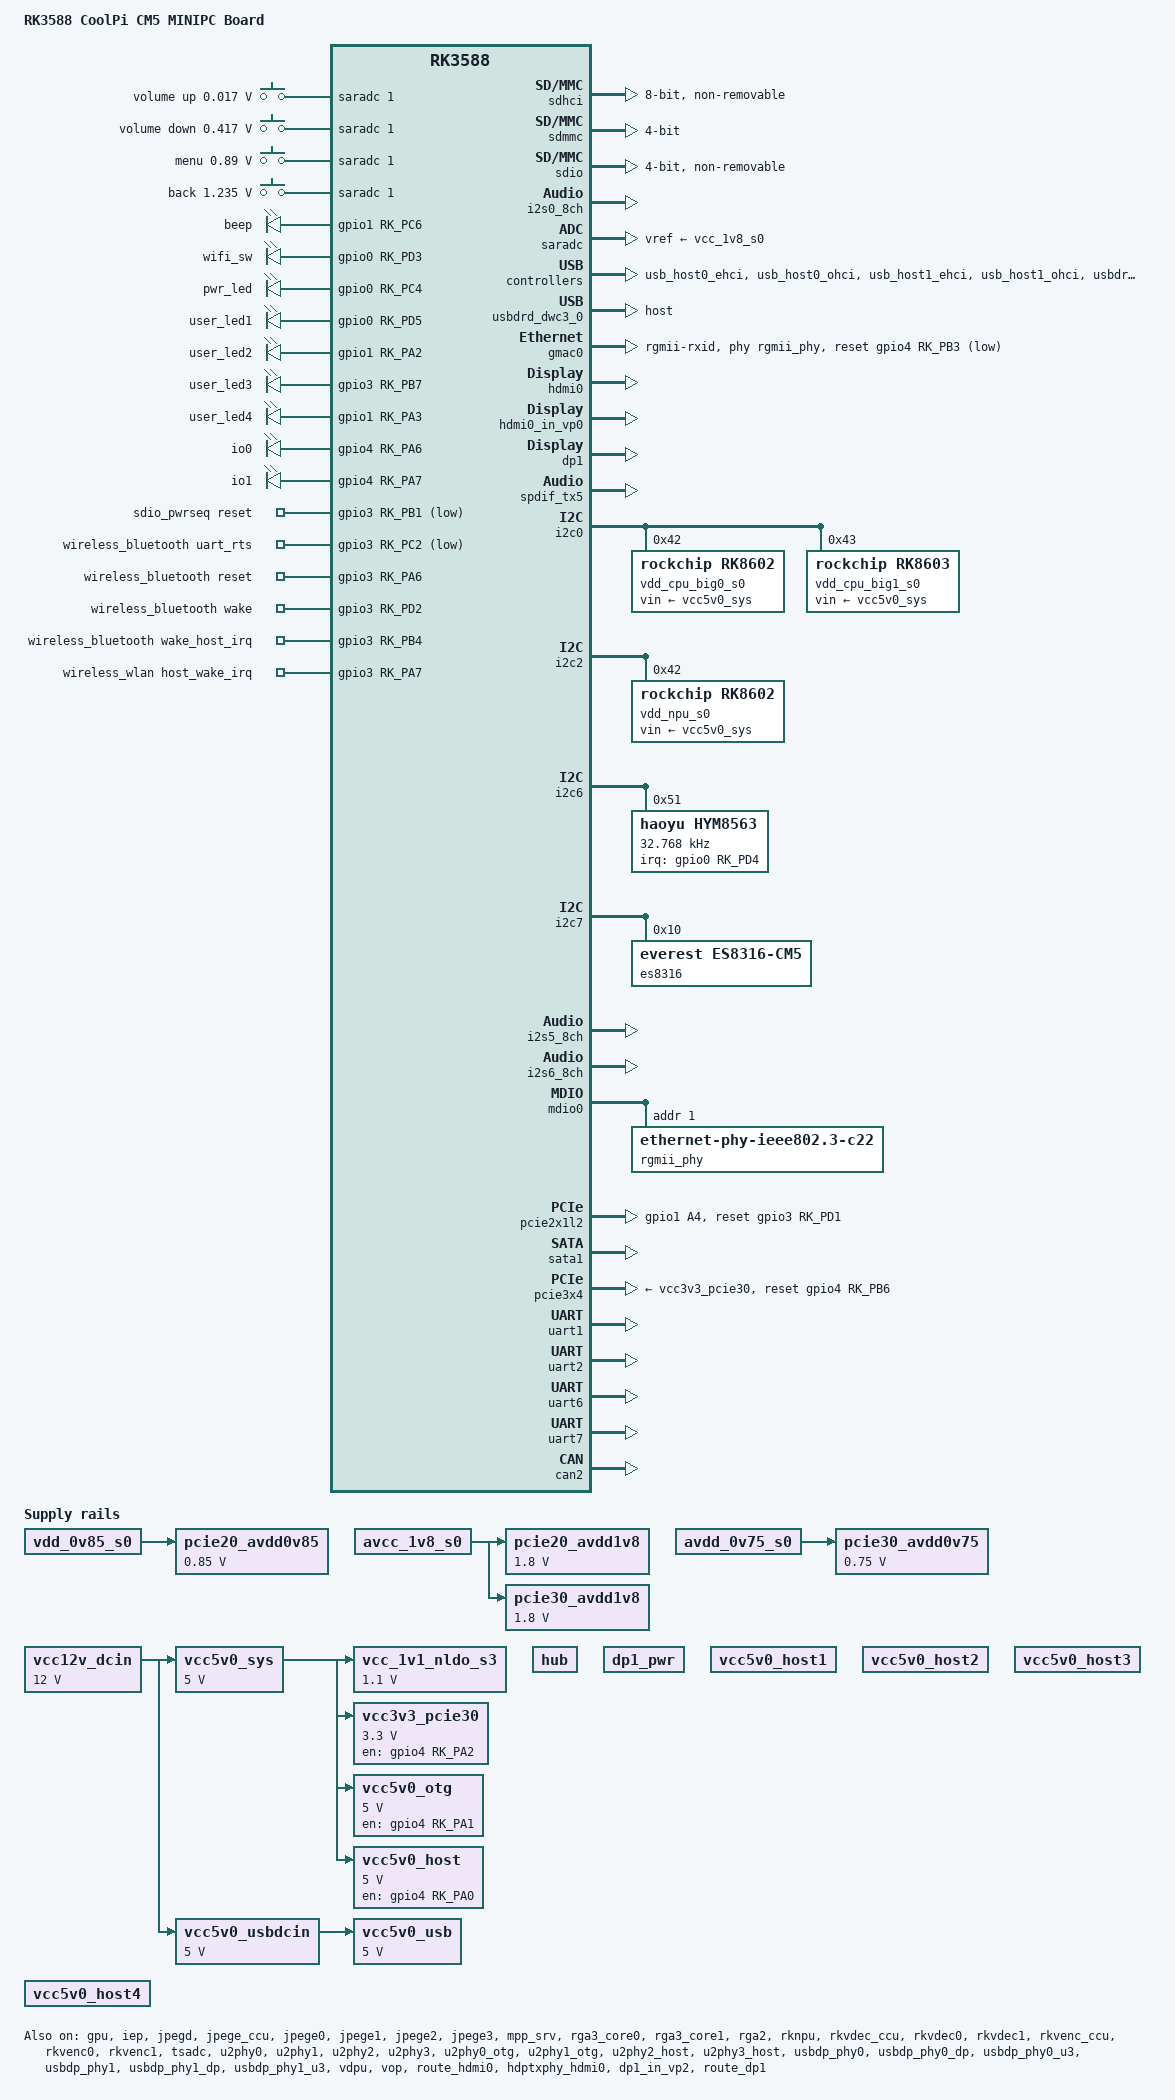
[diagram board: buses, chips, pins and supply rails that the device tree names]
// SPDX-License-Identifier: (GPL-2.0+ OR MIT)
/*
 * Copyright (c) 2021 Rockchip Electronics Co., Ltd.
 *
 */

/dts-v1/;

#include "dt-bindings/usb/pd.h"
#include "rk3588.dtsi"
#include <dt-bindings/gpio/gpio.h>
#include <dt-bindings/pwm/pwm.h>
#include <dt-bindings/pinctrl/rockchip.h>
#include <dt-bindings/input/rk-input.h>
#include <dt-bindings/display/drm_mipi_dsi.h>
#include <dt-bindings/display/rockchip_vop.h>
#include <dt-bindings/sensor-dev.h>
#include "rk3588-rk806-single.dtsi"
#include "rk3588-cpu-swap.dtsi"

/ {
	model = "RK3588 CoolPi CM5 MINIPC Board";
	compatible = "rockchip,rk3588-core", "rockchip,rk3588";
	
	aliases {
		mmc0 = &sdhci;
		mmc1 = &sdio;
		mmc2 = &sdmmc;
		serial0 = &uart2;
		serial1 = &uart7;
		serial2 = &uart6;
		serial3 = &uart1;
		serial4 = &uart0;
		serial5 = &uart3;
		serial6 = &uart4;
		serial7 = &uart5;
		serial8 = &uart8;
		serial9 = &uart9;
	};
	
	cspmu: cspmu@fd10c000 {
		compatible = "rockchip,cspmu";
		reg = <0x0 0xfd10c000 0x0 0x1000>,
		      <0x0 0xfd10d000 0x0 0x1000>,
		      <0x0 0xfd10e000 0x0 0x1000>,
		      <0x0 0xfd10f000 0x0 0x1000>,
		      <0x0 0xfd12c000 0x0 0x1000>,
		      <0x0 0xfd12d000 0x0 0x1000>,
		      <0x0 0xfd12e000 0x0 0x1000>,
		      <0x0 0xfd12f000 0x0 0x1000>;
	};

	debug: debug@fd104000 {
		compatible = "rockchip,debug";
		reg = <0x0 0xfd104000 0x0 0x1000>,
		      <0x0 0xfd105000 0x0 0x1000>,
		      <0x0 0xfd106000 0x0 0x1000>,
		      <0x0 0xfd107000 0x0 0x1000>,
		      <0x0 0xfd124000 0x0 0x1000>,
		      <0x0 0xfd125000 0x0 0x1000>,
		      <0x0 0xfd126000 0x0 0x1000>,
		      <0x0 0xfd127000 0x0 0x1000>;
	};

	fiq_debugger: fiq-debugger {
		compatible = "rockchip,fiq-debugger";
		rockchip,serial-id = <9>;
		rockchip,wake-irq = <0>;
		/* If enable uart uses irq instead of fiq */
		rockchip,irq-mode-enable = <1>;
		rockchip,baudrate = <115200>;  /* Only 115200 and 1500000 */
		interrupts = <GIC_SPI 423 IRQ_TYPE_LEVEL_LOW>;
		pinctrl-names = "default";
		pinctrl-0 = <&uart2m0_xfer>;
		status = "disabled";
	};

	ramoops: ramoops@110000 {
		compatible = "ramoops";
		reg = <0x0 0x110000 0x0 0xf0000>;
		record-size = <0x20000>;
		console-size = <0x80000>;
		ftrace-size = <0x00000>;
		pmsg-size = <0x50000>;
	};

	reserved-memory {
		#address-cells = <2>;
		#size-cells = <2>;
		ranges;

		cma {
			compatible = "shared-dma-pool";
			reusable;
			reg = <0x0 (256 * 0x100000) 0x0 (128 * 0x100000)>;
			linux,cma-default;
		};

		drm_logo: drm-logo@00000000 {
			compatible = "rockchip,drm-logo";
			reg = <0x0 0x0 0x0 0x0>;
		};

		drm_cubic_lut: drm-cubic-lut@00000000 {
			compatible = "rockchip,drm-cubic-lut";
			reg = <0x0 0x0 0x0 0x0>;
		};
	};
	
	cam_ircut0: cam_ircut {
		status = "disabled";
		compatible = "rockchip,ircut";
		ircut-open-gpios = <&gpio3 RK_PC1 GPIO_ACTIVE_HIGH>;
		ircut-close-gpios  = <&gpio3 RK_PC0 GPIO_ACTIVE_HIGH>;
		rockchip,camera-module-index = <0>;
		rockchip,camera-module-facing = "back";
	};
	
	adc_keys: adc-keys {
		compatible = "adc-keys";
		io-channels = <&saradc 1>;
		io-channel-names = "buttons";
		keyup-threshold-microvolt = <1800000>;
		poll-interval = <100>;

		vol-up-key {
			label = "volume up";
			linux,code = <KEY_VOLUMEUP>;
			press-threshold-microvolt = <17000>;
		};

		vol-down-key {
			label = "volume down";
			linux,code = <KEY_VOLUMEDOWN>;
			press-threshold-microvolt = <417000>;
		};

		menu-key {
			label = "menu";
			linux,code = <KEY_MENU>;
			press-threshold-microvolt = <890000>;
		};

		back-key {
			label = "back";
			linux,code = <KEY_BACK>;
			press-threshold-microvolt = <1235000>;
		};
	};
	
	rk_headset: rk-headset {
		status = "disabled";
		compatible = "rockchip_headset";
		headset_gpio = <&gpio1 RK_PD5 GPIO_ACTIVE_HIGH>;
		pinctrl-names = "default";
		pinctrl-0 = <&hp_det>;
		io-channels = <&saradc 3>;
	};

	hdmi0_sound: hdmi0-sound {
		status = "disabled";
		compatible = "rockchip,hdmi";
		rockchip,mclk-fs = <128>;
		rockchip,card-name = "rockchip-hdmi0";
		rockchip,cpu = <&i2s5_8ch>;
		rockchip,codec = <&hdmi0>;
		rockchip,jack-det;
	};
	
	dp1_sound: dp1-sound {
		status = "okay";
		compatible = "rockchip,hdmi";
		rockchip,card-name= "rockchip,dp1";
		rockchip,mclk-fs = <512>;
		rockchip,cpu = <&spdif_tx5>;
		rockchip,codec = <&dp1 1>;
		rockchip,jack-det;
	};
	
	es8316_sound: es8316-sound {
                status = "okay";
                compatible = "simple-audio-card";
                simple-audio-card,format = "i2s";
                simple-audio-card,mclk-fs = <256>;
                simple-audio-card,name = "rockchip,es8316-codec";
                simple-audio-card,dai-link@0 {
                        format = "i2s";
                        cpu {
                                sound-dai = <&i2s0_8ch>;
                        };
                        codec {
                                sound-dai = <&es8316>;
                        };
                };
        };	

	gpio: gpio {
		status = "okay";
		compatible = "gpio-leds";
		beep: beep {
			gpios = <&gpio1 RK_PC6 GPIO_ACTIVE_HIGH>;
			default-state = "off";
		};
		
		wifi_sw: sw {
			gpios = <&gpio0 RK_PD3 GPIO_ACTIVE_HIGH>;
			default-state = "on";
		};
		
		pwr_led: led {
			gpios = <&gpio0 RK_PC4 GPIO_ACTIVE_HIGH>;
			default-state = "on";
		};
		
		user_led1: sta4 {
			gpios = <&gpio0 RK_PD5 GPIO_ACTIVE_HIGH>;
			default-state = "off";
		};
		
		user_led2: sta3 {
			gpios = <&gpio1 RK_PA2 GPIO_ACTIVE_HIGH>;
			default-state = "off";
		};
		
		user_led3: sta2 {
			gpios = <&gpio3 RK_PB7 GPIO_ACTIVE_HIGH>;
			default-state = "off";
		};
		
		user_led4: sta1 {
			gpios = <&gpio1 RK_PA3 GPIO_ACTIVE_HIGH>;
			default-state = "off";
		};
		
		io0: gpio1 {
			gpios = <&gpio4 RK_PA6 GPIO_ACTIVE_HIGH>;
			default-state = "off";
		};
		
		io1: gpio2 {
			gpios = <&gpio4 RK_PA7 GPIO_ACTIVE_HIGH>;
			default-state = "off";
		};
	};

	test-power {
		status = "okay";
	};

	vcc12v_dcin: vcc12v-dcin {
		compatible = "regulator-fixed";
		regulator-name = "vcc12v_dcin";
		regulator-always-on;
		regulator-boot-on;
		regulator-min-microvolt = <12000000>;
		regulator-max-microvolt = <12000000>;
	};

	vcc5v0_sys: vcc5v0-sys {
		compatible = "regulator-fixed";
		regulator-name = "vcc5v0_sys";
		regulator-always-on;
		regulator-boot-on;
		regulator-min-microvolt = <5000000>;
		regulator-max-microvolt = <5000000>;
		vin-supply = <&vcc12v_dcin>;
	};

	vcc5v0_usbdcin: vcc5v0-usbdcin {
		compatible = "regulator-fixed";
		regulator-name = "vcc5v0_usbdcin";
		regulator-always-on;
		regulator-boot-on;
		regulator-min-microvolt = <5000000>;
		regulator-max-microvolt = <5000000>;
		vin-supply = <&vcc12v_dcin>;
	};

	vcc5v0_usb: vcc5v0-usb {
		compatible = "regulator-fixed";
		regulator-name = "vcc5v0_usb";
		regulator-always-on;
		regulator-boot-on;
		regulator-min-microvolt = <5000000>;
		regulator-max-microvolt = <5000000>;
		vin-supply = <&vcc5v0_usbdcin>;
	};
	
	vcc_1v1_nldo_s3: vcc-1v1-nldo-s3 {
		compatible = "regulator-fixed";
		regulator-name = "vcc_1v1_nldo_s3";
		regulator-always-on;
		regulator-boot-on;
		regulator-min-microvolt = <1100000>;
		regulator-max-microvolt = <1100000>;
		vin-supply = <&vcc5v0_sys>;
	};	

	pcie20_avdd0v85: pcie20-avdd0v85 {
		compatible = "regulator-fixed";
		regulator-name = "pcie20_avdd0v85";
		regulator-boot-on;
		regulator-always-on;
		regulator-min-microvolt = <850000>;
		regulator-max-microvolt = <850000>;
		vin-supply = <&vdd_0v85_s0>;
	};

	pcie20_avdd1v8: pcie20-avdd1v8 {
		compatible = "regulator-fixed";
		regulator-name = "pcie20_avdd1v8";
		regulator-boot-on;
		regulator-always-on;
		regulator-min-microvolt = <1800000>;
		regulator-max-microvolt = <1800000>;
		vin-supply = <&avcc_1v8_s0>;
	};

	pcie30_avdd0v75: pcie30-avdd0v75 {
		compatible = "regulator-fixed";
		regulator-name = "pcie30_avdd0v75";
		regulator-boot-on;
		regulator-always-on;
		regulator-min-microvolt = <750000>;
		regulator-max-microvolt = <750000>;
		vin-supply = <&avdd_0v75_s0>;
	};

	pcie30_avdd1v8: pcie30-avdd1v8 {
		compatible = "regulator-fixed";
		regulator-name = "pcie30_avdd1v8";
		regulator-boot-on;
		regulator-always-on;
		regulator-min-microvolt = <1800000>;
		regulator-max-microvolt = <1800000>;
		vin-supply = <&avcc_1v8_s0>;
	};

	vcc3v3_pcie30: vcc3v3-pcie30 {
		compatible = "regulator-fixed";
		regulator-name = "vcc3v3_pcie30";
		regulator-min-microvolt = <3300000>;
		regulator-max-microvolt = <3300000>;
		enable-active-high;
		gpios = <&gpio4 RK_PA2 GPIO_ACTIVE_HIGH>;
		startup-delay-us = <5000>;
		vin-supply = <&vcc5v0_sys>;
	};
	
	vcc5v0_otg: vcc5v0-otg-regulator {
		compatible = "regulator-fixed";
		regulator-name = "vcc5v0_otg";
		regulator-min-microvolt = <5000000>;
		regulator-max-microvolt = <5000000>;
		enable-active-high;
		gpio = <&gpio4 RK_PA1 GPIO_ACTIVE_HIGH>;
		vin-supply = <&vcc5v0_sys>;
		pinctrl-names = "default";
		pinctrl-0 = <&vcc5v0_otg_en>;
	};
	
	vcc5v0_host: vcc5v0-host-regulator {
		compatible = "regulator-fixed";
		regulator-name = "vcc5v0_host";
		regulator-boot-on;
		regulator-always-on;
		regulator-min-microvolt = <5000000>;
		regulator-max-microvolt = <5000000>;
		enable-active-high;
		gpio = <&gpio4 RK_PA0 GPIO_ACTIVE_HIGH>;
		vin-supply = <&vcc5v0_sys>;
		pinctrl-names = "default";
		pinctrl-0 = <&vcc5v0_host0_en>;
	};
	
	hub: hub {
		compatible = "regulator-fixed";
		regulator-name = "hub-rst";
		regulator-boot-on;
		regulator-always-on;
		pinctrl-names = "default";
		pinctrl-0 = <&hub_rst>;
	};
	
	dp1_pwr: dp1-pwr {
		compatible = "regulator-fixed";
		regulator-name = "dp1_pwr";
		regulator-boot-on;
		regulator-always-on;
		pinctrl-names = "default";
		pinctrl-0 = <&hdmi_pwr>;
	};
	
	vcc5v0_host1: vcc5v0-host1-regulator {
		compatible = "regulator-fixed";
		regulator-name = "vcc5v0_host1";
		regulator-boot-on;
		regulator-always-on;
		pinctrl-names = "default";
		pinctrl-0 = <&vcc5v0_host1_en>;
	};
	
	vcc5v0_host2: vcc5v0-host2-regulator {
		compatible = "regulator-fixed";
		regulator-name = "vcc5v0_host2";
		regulator-boot-on;
		regulator-always-on;
		pinctrl-names = "default";
		pinctrl-0 = <&vcc5v0_host2_en>;
	};
	
	vcc5v0_host3: vcc5v0-host3-regulator {
		compatible = "regulator-fixed";
		regulator-name = "vcc5v0_host3";
		regulator-boot-on;
		regulator-always-on;
		pinctrl-names = "default";
		pinctrl-0 = <&vcc5v0_host3_en>;
	};
	
	vcc5v0_host4: vcc5v0-host4-regulator {
		compatible = "regulator-fixed";
		regulator-name = "vcc5v0_host4";
		regulator-boot-on;
		regulator-always-on;
		pinctrl-names = "default";
		pinctrl-0 = <&vcc5v0_host4_en>;
	};
	
	sdio_pwrseq: sdio-pwrseq {
		compatible = "mmc-pwrseq-simple";
		clocks = <&hym8563>;
		clock-names = "ext_clock";
		pinctrl-names = "default";
		pinctrl-0 = <&wifi_enable_h>;
		/*
		 * On the module itself this is one of these (depending
		 * on the actual card populated):
		 * - SDIO_RESET_L_WL_REG_ON
		 * - PDN (power down when low)
		 */
		post-power-on-delay-ms = <200>;
		reset-gpios = <&gpio3 RK_PB1 GPIO_ACTIVE_LOW>;
	};
	
	wireless_bluetooth: wireless-bluetooth {
		compatible = "bluetooth-platdata";
		clocks = <&hym8563>;
		clock-names = "ext_clock";
		uart_rts_gpios = <&gpio3 RK_PC2 GPIO_ACTIVE_LOW>;
		pinctrl-names = "default", "rts_gpio";
		pinctrl-0 = <&uart7m1_rtsn>, <&bt_reset_gpio>, <&bt_wake_gpio>, <&bt_wake_host_irq>;
		pinctrl-1 = <&uart7_gpios>;
		BT,reset_gpio    = <&gpio3 RK_PA6 GPIO_ACTIVE_HIGH>;
		BT,wake_gpio     = <&gpio3 RK_PD2 GPIO_ACTIVE_HIGH>;
		BT,wake_host_irq = <&gpio3 RK_PB4 GPIO_ACTIVE_HIGH>;
		status = "okay";
	};

	wireless_wlan: wireless-wlan {
		compatible = "wlan-platdata";
		wifi_chip_type = "ap6256";
		pinctrl-names = "default";
		pinctrl-0 = <&wifi_host_wake_irq>;
		WIFI,host_wake_irq = <&gpio3 RK_PA7 GPIO_ACTIVE_HIGH>;
		status = "okay";
	};
};

&cpu_l0 {
	cpu-supply = <&vdd_cpu_lit_s0>;
	mem-supply = <&vdd_cpu_lit_mem_s0>;
};

&cpu_b0 {
	cpu-supply = <&vdd_cpu_big0_s0>;
	mem-supply = <&vdd_cpu_big0_mem_s0>;
};

&cpu_b2 {
	cpu-supply = <&vdd_cpu_big1_s0>;
	mem-supply = <&vdd_cpu_big1_mem_s0>;
};

#if 0
&dmc {
    auto-freq-en = <1>;
    status = "okay";
};
#endif

&sdhci {
	bus-width = <8>;
	no-sdio;
	no-sd;
	non-removable;
	max-frequency = <200000000>;
	mmc-hs400-1_8v;
	mmc-hs400-enhanced-strobe;
	status = "okay";
};

&sdmmc {
	max-frequency = <150000000>;
	no-sdio;
	no-mmc;
	bus-width = <4>;
	cap-mmc-highspeed;
	cap-sd-highspeed;
	disable-wp;
	sd-uhs-sdr104;
	vqmmc-supply = <&vccio_sd_s0>;
	status = "okay";
};

&sdio {
	max-frequency = <150000000>;
	no-sd;
	no-mmc;
	bus-width = <4>;
	disable-wp;
	cap-sd-highspeed;
	cap-sdio-irq;
	keep-power-in-suspend;
	mmc-pwrseq = <&sdio_pwrseq>;
	non-removable;
	pinctrl-names = "default";
	pinctrl-0 = <&sdiom1_pins>;
	status = "okay";
};

&gpu {
	mali-supply = <&vdd_gpu_s0>;
	mem-supply = <&vdd_gpu_mem_s0>;
	status = "okay";
};

&i2s0_8ch {
	status = "okay";
	pinctrl-0 = <&i2s0_lrck
		     &i2s0_sclk
		     &i2s0_sdi0
		     &i2s0_sdo0>;
};

&iep {
	status = "okay";
};

&iep_mmu {
	status = "okay";
};

&jpegd {
	status = "okay";
};

&jpegd_mmu {
	status = "okay";
};

&jpege_ccu {
	status = "okay";
};

&jpege0 {
	status = "okay";
};

&jpege0_mmu {
	status = "okay";
};

&jpege1 {
	status = "okay";
};

&jpege1_mmu {
	status = "okay";
};

&jpege2 {
	status = "okay";
};

&jpege2_mmu {
	status = "okay";
};

&jpege3 {
	status = "okay";
};

&jpege3_mmu {
	status = "okay";
};

&mpp_srv {
	status = "okay";
};

&rga3_core0 {
	status = "okay";
};

&rga3_0_mmu {
	status = "okay";
};

&rga3_core1 {
	status = "okay";
};

&rga3_1_mmu {
	status = "okay";
};

&rga2 {
	status = "okay";
};

&rknpu {
	rknpu-supply = <&vdd_npu_s0>;
	mem-supply = <&vdd_npu_mem_s0>;
	status = "okay";
};

&rknpu_mmu {
	status = "okay";
};

&rkvdec_ccu {
	status = "okay";
};

&rkvdec0 {
	status = "okay";
};

&rkvdec0_mmu {
	status = "okay";
};

&rkvdec1 {
	status = "okay";
};

&rkvdec1_mmu {
	status = "okay";
};

&rkvenc_ccu {
	status = "okay";
};

&rkvenc0 {
	status = "okay";
};

&rkvenc0_mmu {
	status = "okay";
};

&rkvenc1 {
	status = "okay";
};

&rkvenc1_mmu {
	status = "okay";
};

&rockchip_suspend {
	status = "okay";
	rockchip,sleep-debug-en = <1>;
};

&saradc {
	status = "okay";
	vref-supply = <&vcc_1v8_s0>;
};

&tsadc {
	status = "okay";
};

&u2phy0 {
	status = "okay";
};

&u2phy1 {
	status = "okay";
};

&u2phy2 {
	status = "okay";
};

&u2phy3 {
	status = "okay";
};

&u2phy0_otg {
	vbus-supply = <&vcc5v0_otg>;
	status = "okay";
};

&u2phy1_otg {
	phy-supply = <&vcc5v0_host>;
	status = "okay";
};

&u2phy2_host {
	status = "okay";
};

&u2phy3_host {
	status = "okay";
};

&usb_host0_ehci {
	status = "okay";
};

&usb_host0_ohci {
	status = "okay";
};

&usb_host1_ehci {
	status = "okay";
};

&usb_host1_ohci {
	status = "okay";
};

&usbdp_phy0 {
	status = "okay";
};

&usbdp_phy0_dp {
	status = "okay";
};

&usbdp_phy0_u3 {
	status = "okay";
};

&usbdp_phy1 {
	status = "okay";
	rockchip,dp-lane-mux = <2 3>;
};

&usbdp_phy1_dp {
	status = "okay";
};

&usbdp_phy1_u3 {
	status = "okay";
};

&usbdrd3_0 {
	status = "okay";
};

&usbdrd_dwc3_0 {
	dr_mode = "host";//peripheral
	extcon = <&u2phy0>;
	status = "okay";
};

&usbhost3_0 {
	status = "okay";
};

&usbhost_dwc3_0 {
	status = "okay";
};

&usbdrd3_1 {
	status = "okay";
};

&usbdrd_dwc3_1 {
	status = "okay";
};

&vdpu {
	status = "okay";
};

&vdpu_mmu {
	status = "okay";
};

&vop {
        status = "okay";
};

&vop_mmu {
	status = "okay";
};

/* vp0 & vp1 splice for 8K output */
&vp0 {
	cursor-win-id=<ROCKCHIP_VOP2_CLUSTER0>;
	rockchip,plane-mask = <(1 << ROCKCHIP_VOP2_CLUSTER0 | 1 << ROCKCHIP_VOP2_ESMART0)>;
	rockchip,primary-plane = <ROCKCHIP_VOP2_ESMART0>;
};

&vp1 {
	cursor-win-id=<ROCKCHIP_VOP2_CLUSTER1>;
	rockchip,plane-mask = <(1 << ROCKCHIP_VOP2_CLUSTER1 | 1 << ROCKCHIP_VOP2_ESMART1)>;
	rockchip,primary-plane = <ROCKCHIP_VOP2_ESMART1>;
};

&vp2 {
	cursor-win-id=<ROCKCHIP_VOP2_CLUSTER2>;
	rockchip,plane-mask = <(1 << ROCKCHIP_VOP2_CLUSTER2 | 1 << ROCKCHIP_VOP2_ESMART2)>;
	rockchip,primary-plane = <ROCKCHIP_VOP2_ESMART2>;
};

&vp3 {
	cursor-win-id=<ROCKCHIP_VOP2_CLUSTER3>;
	rockchip,plane-mask = <(1 << ROCKCHIP_VOP2_CLUSTER3 | 1 << ROCKCHIP_VOP2_ESMART3)>;
	rockchip,primary-plane = <ROCKCHIP_VOP2_ESMART3>;
};


&vcc_1v8_s0 {
	/delete-property/ regulator-state-mem;
	regulator-state-mem {
		regulator-on-in-suspend;
		regulator-suspend-microvolt = <1800000>;
	};
};

&vcc_3v3_s0 {
	/delete-property/ regulator-state-mem;
	regulator-state-mem {
		regulator-on-in-suspend;
		regulator-suspend-microvolt = <3300000>;
	};
};

&gmac0 {
	/* Use rgmii-rxid mode to disable rx delay inside Soc */
	phy-mode = "rgmii-rxid";
	clock_in_out = "output";

	snps,reset-gpio = <&gpio4 RK_PB3 GPIO_ACTIVE_LOW>;
	snps,reset-active-low;
	/* Reset time is 20ms, 100ms for rtl8211f */
	snps,reset-delays-us = <0 20000 100000>;

	pinctrl-names = "default";
	pinctrl-0 = <&gmac0_miim
		     &gmac0_tx_bus2
		     &gmac0_rx_bus2
		     &gmac0_rgmii_clk
		     &gmac0_rgmii_bus>;

	tx_delay = <0x44>;
	/* rx_delay = <0x3f>; */

	phy-handle = <&rgmii_phy>;
	status = "okay";
};

&hdmi0 {
	enable-gpios = <&gpio4 RK_PB1 GPIO_ACTIVE_HIGH>;
	status = "okay";
};

&hdmi0_in_vp0 {
	status = "okay";
};

&hdmi0_sound {
	status = "okay";
};

&route_hdmi0 {
	status = "okay";
	
	logo,uboot = "logo.bmp";
	logo,kernel = "logo_kernel.bmp";
	logo,mode = "center";
	charge_logo,mode = "center";
	connect = <&vp0_out_hdmi0>;

};

&hdptxphy_hdmi0 {
	status = "okay";
};

&dp1 {
	pinctrl-names = "default";
	pinctrl-0 = <&dp1m0_pins>;
	status = "okay";
};

&spdif_tx5 {
	status = "okay";
};

&dp1_in_vp2 {
	status = "okay";
};

&route_dp1 {
	status = "okay";
	connect = <&vp2_out_dp1>;
};

&i2c0 {
	status = "okay";
	pinctrl-names = "default";
	pinctrl-0 = <&i2c0m2_xfer>;

	vdd_cpu_big0_s0: vdd_cpu_big0_mem_s0: rk8602@42 {
		compatible = "rockchip,rk8602";
		reg = <0x42>;
		vin-supply = <&vcc5v0_sys>;
		regulator-compatible = "rk860x-reg";
		regulator-name = "vdd_cpu_big0_s0";
		regulator-min-microvolt = <550000>;
		regulator-max-microvolt = <1050000>;
		regulator-ramp-delay = <2300>;
		rockchip,suspend-voltage-selector = <1>;
		regulator-boot-on;
		regulator-always-on;
		regulator-state-mem {
			regulator-off-in-suspend;
		};
	};

	vdd_cpu_big1_s0: vdd_cpu_big1_mem_s0: rk8603@43 {
		compatible = "rockchip,rk8603";
		reg = <0x43>;
		vin-supply = <&vcc5v0_sys>;
		regulator-compatible = "rk860x-reg";
		regulator-name = "vdd_cpu_big1_s0";
		regulator-min-microvolt = <550000>;
		regulator-max-microvolt = <1050000>;
		regulator-ramp-delay = <2300>;
		rockchip,suspend-voltage-selector = <1>;
		regulator-boot-on;
		regulator-always-on;
		regulator-state-mem {
			regulator-off-in-suspend;
		};
	};
};

&i2c2 {
	status = "okay";

	vdd_npu_s0: vdd_npu_mem_s0: rk8602@42 {
		compatible = "rockchip,rk8602";
		reg = <0x42>;
		vin-supply = <&vcc5v0_sys>;
		regulator-compatible = "rk860x-reg";
		regulator-name = "vdd_npu_s0";
		regulator-min-microvolt = <550000>;
		regulator-max-microvolt = <950000>;
		regulator-ramp-delay = <2300>;
		rockchip,suspend-voltage-selector = <1>;
		regulator-boot-on;
		regulator-always-on;
		regulator-state-mem {
			regulator-off-in-suspend;
		};
	};
};

&i2c6 {
	status = "okay";
	hym8563: hym8563@51 {
		compatible = "haoyu,hym8563";
		reg = <0x51>;
		#clock-cells = <0>;
		clock-frequency = <32768>;
		clock-output-names = "hym8563";
		pinctrl-names = "default";
		pinctrl-0 = <&hym8563_int>;
		interrupt-parent = <&gpio0>;
		interrupts = <RK_PD4 IRQ_TYPE_LEVEL_LOW>;
		wakeup-source;
	};
};

&i2c7 {
	status = "okay";
	pinctrl-names = "default";
	pinctrl-0 = <&i2c7m0_xfer>;
	es8316: es8316@10 {
		status = "okay";
		#sound-dai-cells = <0>;
		compatible = "everest,es8316-cm5";
		reg = <0x10>;
		clocks = <&cru I2S0_8CH_MCLKOUT>;
		clock-names = "mclk";
		assigned-clocks = <&cru I2S0_8CH_MCLKOUT>;
		assigned-clock-rates = <12288000>;
		pinctrl-names = "default";
		pinctrl-0 = <&i2s0_mclk>;
	};
};

&i2s5_8ch {
	status = "okay";
};

&i2s6_8ch {
	status = "okay";
};

&mdio0 {
	rgmii_phy: phy@1 {
		compatible = "ethernet-phy-ieee802.3-c22";
		reg = <0x1>;
	};
};

&combphy0_ps {
    status = "okay";
};

&combphy1_ps {
    status = "okay";
};

&combphy2_psu {
	status = "okay";
};

//ethernet
&pcie2x1l2 {
	reset-gpios = <&gpio3 RK_PD1 GPIO_ACTIVE_HIGH>;
	pinctrl-names = "default";
	pinctrl-0 = <&rtl8111_isolate>;
	status = "okay";
};

&sata1 {
	status = "okay";
};

&pcie30phy {
	rockchip,pcie30-phymode = <PHY_MODE_PCIE_AGGREGATION>;
	status = "okay";
};

&pcie3x4 {
	reset-gpios = <&gpio4 RK_PB6 GPIO_ACTIVE_HIGH>;
	vpcie3v3-supply = <&vcc3v3_pcie30>;
	status = "okay";
};


&display_subsystem {
	memory-region = <&drm_logo>;
	memory-region-names = "drm-logo";
};


&rng {
	status = "okay";
};

&uart1 {
	status = "okay";
	pinctrl-names = "default";
	pinctrl-0 = <&uart1m1_xfer>;
};

&uart2 {
	status = "okay";
	pinctrl-names = "default";
	pinctrl-0 = <&uart2m0_xfer>;
};

&uart6 {
	status = "okay";
	pinctrl-names = "default";
	pinctrl-0 = <&uart6m1_xfer>;
};

&uart7 {
	status = "okay";
	pinctrl-names = "default";
	pinctrl-0 = <&uart7m1_xfer &uart7m1_ctsn>;
};

&can2 {
	status = "okay";
	pinctrl-names = "default";
	pinctrl-0 = <&can2m0_pins>;
};

&pinctrl {
	hym8563 {
		hym8563_int: hym8563-int {
			rockchip,pins = <0 RK_PD4 RK_FUNC_GPIO &pcfg_pull_up>;
		};
	};
	
	hdmi {
		hdmi_pwr: hdmi-pwr {
			rockchip,pins = <1 RK_PC4 RK_FUNC_GPIO &pcfg_output_high>;
		};
	};

	rtl8111 {
		rtl8111_isolate: rtl8111-isolate {
			rockchip,pins = <1 RK_PA4 RK_FUNC_GPIO &pcfg_pull_up>;
		};
	};
	
	sdio-pwrseq {
		wifi_enable_h: wifi-enable-h {
			rockchip,pins = <3 RK_PB1 RK_FUNC_GPIO &pcfg_pull_up>;
		};
	};
	
	wireless-bluetooth {
		uart7_gpios: uart7-gpios {
			rockchip,pins = <3 RK_PD2 RK_FUNC_GPIO &pcfg_pull_none>;
		};

		bt_reset_gpio: bt-reset-gpio {
			rockchip,pins = <3 RK_PA6 RK_FUNC_GPIO &pcfg_pull_none>;
		};

		bt_wake_gpio: bt-wake-gpio {
			rockchip,pins = <3 RK_PD2 RK_FUNC_GPIO &pcfg_pull_none>;
		};

		bt_wake_host_irq: bt-wake-host-irq {
			rockchip,pins = <3 RK_PB4 RK_FUNC_GPIO &pcfg_pull_down>;
		};
	};

	wireless-wlan {
		wifi_host_wake_irq: wifi-host-wake-irq {
			rockchip,pins = <3 RK_PA7 RK_FUNC_GPIO &pcfg_pull_down>;
		};

		wifi_poweren_gpio: wifi-poweren-gpio {
			rockchip,pins = <0 RK_PD3 RK_FUNC_GPIO &pcfg_pull_up>;
		};
	};
	
	headphone {
		hp_det: hp-det {
			rockchip,pins = <1 RK_PD5 RK_FUNC_GPIO &pcfg_pull_up>;
		};
	};

	usb {
		vcc5v0_otg_en: vcc5v0-otg-en {
			rockchip,pins = <4 RK_PA1 RK_FUNC_GPIO &pcfg_pull_up>;
		};
		
		vcc5v0_host0_en: vcc5v0-host0-en {
			rockchip,pins = <4 RK_PA0 RK_FUNC_GPIO &pcfg_pull_up>;
		};
		
		vcc5v0_host1_en: vcc5v0-host1-en {
			rockchip,pins = <1 RK_PB3 RK_FUNC_GPIO &pcfg_output_high>;
		};
		
		vcc5v0_host2_en: vcc5v0-host2-en {
			rockchip,pins = <1 RK_PB0 RK_FUNC_GPIO &pcfg_output_high>;
		};
		
		vcc5v0_host3_en: vcc5v0-host3-en {
			rockchip,pins = <1 RK_PB2 RK_FUNC_GPIO &pcfg_output_high>;
		};
		
		vcc5v0_host4_en: vcc5v0-host4-en {
			rockchip,pins = <1 RK_PB1 RK_FUNC_GPIO &pcfg_output_high>;
		};
		
		hub_rst: hub-rst {
			rockchip,pins = <4 RK_PB0 RK_FUNC_GPIO &pcfg_output_high>;
		};
	};

};

